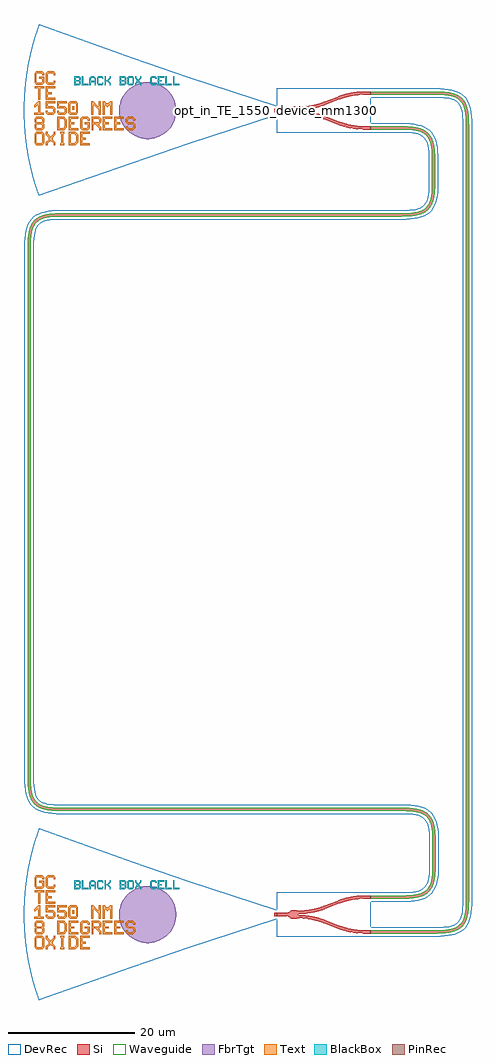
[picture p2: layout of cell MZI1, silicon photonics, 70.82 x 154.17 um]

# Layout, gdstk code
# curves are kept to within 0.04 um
import gdstk
lib = gdstk.Library(unit=1e-6, precision=1e-09)
def R(c, l, rs):  # rectangles x0, y0, x1, y1
    for r in rs: c.add(gdstk.rectangle(r[:2], r[2:], *l))
def P(c, l, *ps):  # polygons
    for p in ps: c.add(gdstk.Polygon(p, *l))
Si = (1, 0)
PinRec = (1, 10)
Waveguide = (1, 99)
Text = (10, 0)
DevRec = (68, 0)
FbrTgt = (81, 0)
BlackBox = (998, 0)

text = lib.new_cell('TEXT')
P(text, BlackBox, [(0,0),(0,1.4),(0.8,1.4),(1,1.2),(0.2,1.2),(0.2,0.8),(0.7,0.8),(0.8,0.9),(0.8,1.1),(0.7,1.2),(1,1.2),(1,0.8),(0.9,0.7),(1,0.6),(0.2,0.6),(0.2,0.2),(0.7,0.2),(0.8,0.3),(0.8,0.5),(0.7,0.6),(1,0.6),(1,0.2),(0.8,0)],
  [(1.2,0),(1.2,1.4),(1.4,1.4),(1.4,0.2),(2.2,0.2),(2.2,0)],
  [(2.4,0),(2.4,1.1),(2.7,1.4),(3.1,1.4),(3.3,1.2),(2.8,1.2),(2.6,1),(2.6,0.7),(3.2,0.7),(3.2,1),(3,1.2),(3.3,1.2),(3.4,1.1),(3.4,0),(3.2,0),(3.2,0.5),(2.6,0.5),(2.6,0)],
  [(3.8,0),(3.6,0.2),(3.6,1.2),(3.8,1.4),(4.4,1.4),(4.6,1.2),(4.6,1),(4.4,1),(4.4,1.1),(4.3,1.2),(3.9,1.2),(3.8,1.1),(3.8,0.3),(3.9,0.2),(4.3,0.2),(4.4,0.3),(4.4,0.4),(4.6,0.4),(4.6,0.2),(4.4,0)],
  [(4.8,0),(4.8,1.4),(5,1.4),(5,0.8),(5.2,0.8),(5.6,1.2),(5.6,1.4),(5.8,1.4),(5.8,1.1),(5.4,0.7),(5.8,0.3),(5.8,0),(5.6,0),(5.6,0.2),(5.2,0.6),(5,0.6),(5,0)],
  [(7.2,0),(7.2,1.4),(8,1.4),(8.2,1.2),(7.4,1.2),(7.4,0.8),(7.9,0.8),(8,0.9),(8,1.1),(7.9,1.2),(8.2,1.2),(8.2,0.8),(8.1,0.7),(8.2,0.6),(7.4,0.6),(7.4,0.2),(7.9,0.2),(8,0.3),(8,0.5),(7.9,0.6),(8.2,0.6),(8.2,0.2),(8,0)],
  [(8.6,0),(8.4,0.2),(8.4,1.2),(8.6,1.4),(9.2,1.4),(9.4,1.2),(9.4,0.7),(9.2,0.7),(9.2,1.1),(9.1,1.2),(8.7,1.2),(8.6,1.1),(8.6,0.3),(8.7,0.2),(9.1,0.2),(9.2,0.3),(9.2,0.7),(9.4,0.7),(9.4,0.2),(9.2,0)],
  [(9.6,0),(9.6,0.3),(9.9,0.6),(9.9,0.8),(9.6,1.1),(9.6,1.4),(9.8,1.4),(9.8,1.2),(10.1,0.9),(10.4,1.2),(10.4,1.4),(10.6,1.4),(10.6,1.1),(10.3,0.8),(10.3,0.6),(10.6,0.3),(10.6,0),(10.4,0),(10.4,0.2),(10.1,0.5),(9.8,0.2),(9.8,0)],
  [(12.2,0),(12,0.2),(12,1.2),(12.2,1.4),(12.8,1.4),(13,1.2),(13,1),(12.8,1),(12.8,1.1),(12.7,1.2),(12.3,1.2),(12.2,1.1),(12.2,0.3),(12.3,0.2),(12.7,0.2),(12.8,0.3),(12.8,0.4),(13,0.4),(13,0.2),(12.8,0)],
  [(13.2,0),(13.2,1.4),(14.2,1.4),(14.2,1.2),(13.4,1.2),(13.4,0.8),(13.8,0.8),(13.8,0.6),(13.4,0.6),(13.4,0.2),(14.2,0.2),(14.2,0)],
  [(14.4,0),(14.4,1.4),(14.6,1.4),(14.6,0.2),(15.4,0.2),(15.4,0)],
  [(15.6,0),(15.6,1.4),(15.8,1.4),(15.8,0.2),(16.6,0.2),(16.6,0)])

gc_te_1550_8degoxide_bb = lib.new_cell('GC_TE_1550_8degOxide_BB')
R(gc_te_1550_8degoxide_bb, Si, [(-0.4,-0.25,0,0.25)])
R(gc_te_1550_8degoxide_bb, Text, [(-32.313,0.092,-32.013,0.692)])
P(gc_te_1550_8degoxide_bb, Text, [(-37.67,1.71),(-37.67,3.51),(-38.27,3.51),(-38.27,3.81),(-36.77,3.81),(-36.77,3.51),(-37.37,3.51),(-37.37,1.71)],
  [(-37.97,-5.49),(-38.27,-5.19),(-38.27,-3.69),(-37.97,-3.39),(-37.07,-3.39),(-36.77,-3.69),(-36.77,-4.44),(-37.07,-4.44),(-37.07,-3.84),(-37.22,-3.69),(-37.82,-3.69),(-37.97,-3.84),(-37.97,-5.04),(-37.82,-5.19),(-37.22,-5.19),(-37.07,-5.04),(-37.07,-4.44),(-36.77,-4.44),(-36.77,-5.19),(-37.07,-5.49)],
  [(-31.07,-5.49),(-31.07,-3.39),(-29.57,-3.39),(-29.57,-3.69),(-30.77,-3.69),(-30.77,-4.29),(-30.17,-4.29),(-30.17,-4.59),(-30.77,-4.59),(-30.77,-5.19),(-29.57,-5.19),(-29.57,-5.49)],
  [(-32.87,-3.09),(-32.87,-0.99),(-31.37,-0.99),(-31.37,-1.29),(-32.57,-1.29),(-32.57,-1.89),(-31.97,-1.89),(-31.97,-2.19),(-32.57,-2.19),(-32.57,-2.79),(-31.37,-2.79),(-31.37,-3.09)],
  [(-27.47,-3.09),(-27.47,-0.99),(-25.97,-0.99),(-25.97,-1.29),(-27.17,-1.29),(-27.17,-1.89),(-26.57,-1.89),(-26.57,-2.19),(-27.17,-2.19),(-27.17,-2.79),(-25.97,-2.79),(-25.97,-3.09)],
  [(-25.67,-3.09),(-25.67,-0.99),(-24.17,-0.99),(-24.17,-1.29),(-25.37,-1.29),(-25.37,-1.89),(-24.77,-1.89),(-24.77,-2.19),(-25.37,-2.19),(-25.37,-2.79),(-24.17,-2.79),(-24.17,-3.09)],
  [(-36.47,1.71),(-36.47,3.81),(-34.97,3.81),(-34.97,3.51),(-36.17,3.51),(-36.17,2.91),(-35.57,2.91),(-35.57,2.61),(-36.17,2.61),(-36.17,2.01),(-34.97,2.01),(-34.97,1.71)],
  [(-29.313,-0.658),(-29.313,1.442),(-29.013,1.442),(-28.263,0.692),(-28.113,0.692),(-28.113,1.442),(-27.813,1.442),(-27.813,-0.658),(-28.113,-0.658),(-28.113,0.092),(-28.863,0.842),(-29.013,0.842),(-29.013,-0.658)],
  [(-34.22,-5.49),(-34.22,-5.19),(-34.07,-5.19),(-34.07,-3.69),(-34.22,-3.69),(-34.22,-3.39),(-33.62,-3.39),(-33.62,-3.69),(-33.77,-3.69),(-33.77,-5.19),(-33.62,-5.19),(-33.62,-5.49)],
  [(-36.17,4.11),(-36.47,4.41),(-36.47,5.91),(-36.17,6.21),(-35.27,6.21),(-34.97,5.91),(-34.97,5.61),(-35.27,5.61),(-35.27,5.76),(-35.42,5.91),(-36.02,5.91),(-36.17,5.76),(-36.17,4.56),(-36.02,4.41),(-35.42,4.41),(-35.27,4.56),(-35.27,4.71),(-34.97,4.71),(-34.97,4.41),(-35.27,4.11)],
  [(-27.513,-0.658),(-27.513,1.442),(-27.213,1.442),(-26.913,1.142),(-26.613,1.142),(-26.313,1.442),(-26.013,1.442),(-26.013,-0.658),(-26.313,-0.658),(-26.313,0.842),(-26.463,0.842),(-26.763,0.542),(-27.063,0.842),(-27.213,0.842),(-27.213,-0.658)],
  [(-32.613,-0.658),(-32.913,-0.358),(-32.913,1.142),(-32.613,1.442),(-31.713,1.442),(-31.413,1.142),(-32.463,1.142),(-32.613,0.992),(-32.613,-0.208),(-32.463,-0.358),(-31.863,-0.358),(-31.713,-0.208),(-31.713,0.992),(-31.863,1.142),(-31.413,1.142),(-31.413,-0.358),(-31.713,-0.658)],
  [(-32.87,-5.49),(-32.87,-3.39),(-31.82,-3.39),(-31.52,-3.69),(-32.57,-3.69),(-32.57,-5.19),(-31.97,-5.19),(-31.67,-4.89),(-31.67,-3.99),(-31.97,-3.69),(-31.52,-3.69),(-31.37,-3.84),(-31.37,-5.04),(-31.82,-5.49)],
  [(-34.67,-3.09),(-34.67,-0.99),(-33.62,-0.99),(-33.32,-1.29),(-34.37,-1.29),(-34.37,-2.79),(-33.77,-2.79),(-33.47,-2.49),(-33.47,-1.59),(-33.77,-1.29),(-33.32,-1.29),(-33.17,-1.44),(-33.17,-2.64),(-33.62,-3.09)],
  [(-23.57,-3.09),(-23.87,-2.79),(-23.87,-2.49),(-23.57,-2.49),(-23.57,-2.64),(-23.42,-2.79),(-22.82,-2.79),(-22.67,-2.64),(-22.67,-2.34),(-22.82,-2.19),(-23.57,-2.19),(-23.87,-1.89),(-23.87,-1.29),(-23.57,-0.99),(-22.67,-0.99),(-22.37,-1.29),(-22.37,-1.59),(-22.67,-1.59),(-22.67,-1.44),(-22.82,-1.29),(-23.42,-1.29),(-23.57,-1.44),(-23.57,-1.74),(-23.42,-1.89),(-22.67,-1.89),(-22.37,-2.19),(-22.37,-2.79),(-22.67,-3.09)],
  [(-36.213,-0.658),(-36.513,-0.358),(-36.513,-0.058),(-36.213,-0.058),(-36.213,-0.208),(-36.063,-0.358),(-35.463,-0.358),(-35.313,-0.208),(-35.313,0.242),(-35.463,0.392),(-36.513,0.392),(-36.513,1.442),(-35.013,1.442),(-35.013,1.142),(-36.213,1.142),(-36.213,0.692),(-35.313,0.692),(-35.013,0.392),(-35.013,-0.358),(-35.313,-0.658)],
  [(-34.413,-0.658),(-34.713,-0.358),(-34.713,-0.058),(-34.413,-0.058),(-34.413,-0.208),(-34.263,-0.358),(-33.663,-0.358),(-33.513,-0.208),(-33.513,0.242),(-33.663,0.392),(-34.713,0.392),(-34.713,1.442),(-33.213,1.442),(-33.213,1.142),(-34.413,1.142),(-34.413,0.692),(-33.513,0.692),(-33.213,0.392),(-33.213,-0.358),(-33.513,-0.658)],
  [(-37.97,-3.09),(-38.27,-2.79),(-38.27,-2.19),(-38.12,-2.04),(-38.27,-1.89),(-38.27,-1.29),(-37.97,-0.99),(-37.07,-0.99),(-36.77,-1.29),(-37.82,-1.29),(-37.97,-1.44),(-37.97,-1.74),(-37.82,-1.89),(-37.22,-1.89),(-37.07,-1.74),(-37.07,-1.44),(-37.22,-1.29),(-36.77,-1.29),(-36.77,-1.89),(-36.92,-2.04),(-36.77,-2.19),(-37.82,-2.19),(-37.97,-2.34),(-37.97,-2.64),(-37.82,-2.79),(-37.22,-2.79),(-37.07,-2.64),(-37.07,-2.34),(-37.22,-2.19),(-36.77,-2.19),(-36.77,-2.79),(-37.07,-3.09)],
  [(-38.313,-0.658),(-38.313,-0.358),(-37.713,-0.358),(-37.713,0.842),(-37.863,0.842),(-38.163,0.542),(-38.313,0.542),(-38.313,0.842),(-37.713,1.442),(-37.413,1.442),(-37.413,-0.358),(-36.813,-0.358),(-36.813,-0.658)],
  [(-36.47,-5.49),(-36.47,-5.04),(-36.02,-4.59),(-36.02,-4.29),(-36.47,-3.84),(-36.47,-3.39),(-36.17,-3.39),(-36.17,-3.69),(-35.72,-4.14),(-35.27,-3.69),(-35.27,-3.39),(-34.97,-3.39),(-34.97,-3.84),(-35.42,-4.29),(-35.42,-4.59),(-34.97,-5.04),(-34.97,-5.49),(-35.27,-5.49),(-35.27,-5.19),(-35.72,-4.74),(-36.17,-5.19),(-36.17,-5.49)],
  [(-30.77,-3.09),(-31.07,-2.79),(-31.07,-1.29),(-30.77,-0.99),(-29.87,-0.99),(-29.57,-1.29),(-29.57,-1.59),(-29.87,-1.59),(-29.87,-1.44),(-30.02,-1.29),(-30.62,-1.29),(-30.77,-1.44),(-30.77,-2.64),(-30.62,-2.79),(-30.02,-2.79),(-29.87,-2.64),(-29.87,-2.19),(-30.32,-2.19),(-30.32,-1.89),(-29.57,-1.89),(-29.57,-2.79),(-29.87,-3.09)],
  [(-37.97,4.11),(-38.27,4.41),(-38.27,5.91),(-37.97,6.21),(-37.07,6.21),(-36.77,5.91),(-36.77,5.61),(-37.07,5.61),(-37.07,5.76),(-37.22,5.91),(-37.82,5.91),(-37.97,5.76),(-37.97,4.56),(-37.82,4.41),(-37.22,4.41),(-37.07,4.56),(-37.07,5.01),(-37.52,5.01),(-37.52,5.31),(-36.77,5.31),(-36.77,4.41),(-37.07,4.11)],
  [(-29.27,-3.09),(-29.27,-0.99),(-28.07,-0.99),(-27.77,-1.29),(-28.97,-1.29),(-28.97,-1.89),(-28.22,-1.89),(-28.07,-1.74),(-28.07,-1.44),(-28.22,-1.29),(-27.77,-1.29),(-27.77,-1.89),(-28.07,-2.19),(-28.07,-2.34),(-27.77,-2.64),(-27.77,-3.09),(-28.07,-3.09),(-28.07,-2.79),(-28.67,-2.19),(-28.97,-2.19),(-28.97,-3.09)])
P(gc_te_1550_8degoxide_bb, DevRec, [(-37.607,-13.5),(-38.627,-10.245),(-39.378,-6.832),(-39.647,-5.058),(-39.835,-3.274),(-39.969,0.224),(-39.812,3.541),(-39.331,7.097),(-38.557,10.505),(-37.546,13.669),(-22.8,8.353),(-14.109,5.36),(0,0.75),(0,-0.75),(-14.109,-5.36)])
P(gc_te_1550_8degoxide_bb, FbrTgt, [(-20.621,-4.5),(-21.495,-4.37),(-22.326,-4.073),(-23.084,-3.619),(-23.738,-3.026),(-24.264,-2.316),(-24.642,-1.518),(-24.857,-0.661),(-24.9,0.221),(-24.77,1.095),(-24.473,1.926),(-24.019,2.684),(-23.426,3.338),(-22.716,3.864),(-21.918,4.242),(-21.061,4.457),(-20.179,4.5),(-19.305,4.37),(-18.474,4.073),(-17.716,3.619),(-17.062,3.026),(-16.536,2.316),(-16.158,1.518),(-15.943,0.661),(-15.9,-0.221),(-16.03,-1.095),(-16.327,-1.926),(-16.781,-2.684),(-17.374,-3.338),(-18.084,-3.864),(-18.882,-4.242),(-19.739,-4.457)])
gc_te_1550_8degoxide_bb.add(gdstk.FlexPath([(-0.01,0),(0.01,0)], 0.5, ends="flush", simple_path=True, layer=1, datatype=10))  # PinRec
gc_te_1550_8degoxide_bb.add(gdstk.Reference(text, (-32,4)))
gc_te_1550_8degoxide_bb.add(gdstk.Label('opt1', (0,0), layer=1, texttype=10))
gc_te_1550_8degoxide_bb.add(gdstk.Label('Lumerical_INTERCONNECT_library=Design kits/ebeam', (-29,-7), layer=68, texttype=0))
gc_te_1550_8degoxide_bb.add(gdstk.Label('Component=GC_TE_1550_8degOxide_BB', (-28,-5), layer=68, texttype=0))

ebeam_y_1550 = lib.new_cell('ebeam_y_1550')
R(ebeam_y_1550, Si, [(6.5,-3,7.4,-2.5), (-7.4,-0.25,-6,0.25), (6.5,2.5,7.4,3)])
P(ebeam_y_1550, Si, [(6.458,-3),(6.237,-2.997),(6.237,-2.497),(6.5,-2.5),(6.5,-3)],
  [(5.033,-2.908),(3.59,-2.634),(2.265,-2.21),(2.445,-1.744),(3.731,-2.154),(5.033,-2.404)],
  [(6.233,-2.997),(5.033,-2.908),(5.033,-2.404),(6.237,-2.497)],
  [(2.265,-2.21),(0.055,-1.356),(0.235,-0.89),(2.445,-1.744)],
  [(-0.762,-1.076),(-2.334,-0.724),(-4,-0.6),(-4,-0.1),(-2.381,-0.212),(-0.762,-0.555)],
  [(0.055,-1.356),(-0.762,-1.076),(-0.762,-0.555),(0.235,-0.89)],
  [(6.237,2.497),(6.237,2.997),(6.5,3),(6.5,2.5)],
  [(2.445,1.744),(2.267,2.211),(3.59,2.634),(5.033,2.908),(5.033,2.404),(3.731,2.154)],
  [(5.033,2.404),(5.033,2.908),(6.237,2.997),(6.237,2.497)],
  [(0.235,0.89),(0.055,1.356),(2.265,2.21),(2.445,1.744)],
  [(-4,0.1),(-4,0.6),(-2.334,0.724),(-0.762,1.076),(-0.762,0.555),(-2.381,0.212)],
  [(-0.762,0.555),(-0.762,1.076),(0.055,1.356),(0.235,0.89)],
  [(-5.122,-0.662),(-5.442,-0.374),(-5.808,-0.255),(-6,-0.25),(-6,0.25),(-5.817,0.253),(-5.442,0.374),(-5.122,0.662)],
  [(-4.957,-0.703),(-5.122,-0.662),(-5.122,0.662),(-4.538,0.703),(-4,0.6),(-4,-0.6),(-4.509,-0.701)])
R(ebeam_y_1550, DevRec, [(-7.4,-3.5,7.4,3.5)])
ebeam_y_1550.add(gdstk.FlexPath([(-7.35,0),(-7.45,0)], 0.5, ends="flush", simple_path=True, layer=1, datatype=10))  # PinRec
ebeam_y_1550.add(gdstk.FlexPath([(7.35,2.75),(7.45,2.75)], 0.5, ends="flush", simple_path=True, layer=1, datatype=10))  # PinRec
ebeam_y_1550.add(gdstk.FlexPath([(7.35,-2.75),(7.45,-2.75)], 0.5, ends="flush", simple_path=True, layer=1, datatype=10))  # PinRec
ebeam_y_1550.add(gdstk.Label('opt2', (7.4,2.75), layer=1, texttype=10))
ebeam_y_1550.add(gdstk.Label('opt3', (7.4,-2.75), layer=1, texttype=10))
ebeam_y_1550.add(gdstk.Label('opt1', (-7.4,0), layer=1, texttype=10))
ebeam_y_1550.add(gdstk.Label('Component=ebeam_y_1550', (-6,1.5), layer=68, texttype=0))
ebeam_y_1550.add(gdstk.Label('Lumerical_INTERCONNECT_library=Design kits/ebeam', (-6.86,-2.19), layer=68, texttype=0))
ebeam_y_1550.add(gdstk.Label('Ref: Y Zhang, Opt. Express, 21/1, 2013', (-7.5,-1), layer=10, texttype=0))

waveguide_4 = lib.new_cell('Waveguide$4')
P(waveguide_4, Si, [(15.01,2.19),(15.01,2.69),(20.672,2.7),(22.382,2.886),(23.022,3.08),(23.534,3.347),(23.937,3.694),(24.25,4.137),(24.595,5.099),(24.773,6.611),(24.785,11.728),(24.677,13.19),(24.445,14.165),(24.005,14.968),(23.44,15.453),(22.652,15.786),(21.599,15.979),(20.257,16.049),(-34.563,16.06),(-36.046,16.196),(-37.213,16.531),(-37.998,17.034),(-38.563,17.757),(-38.838,18.407),(-39.02,19.17),(-39.164,21.079),(-39.147,106.052),(-39.046,107.164),(-38.88,107.951),(-38.562,108.744),(-38.181,109.283),(-37.686,109.71),(-36.947,110.076),(-36.207,110.275),(-35.157,110.41),(19.96,110.45),(21.346,110.504),(22.573,110.715),(23.361,111.048),(23.926,111.533),(24.366,112.336),(24.598,113.311),(24.706,114.773),(24.692,119.77),(24.514,121.282),(24.169,122.244),(23.783,122.763),(23.263,123.15),(22.701,123.387),(21.849,123.578),(20.387,123.686),(15.01,123.69),(15.01,124.19),(20.811,124.173),(21.75,124.096),(22.563,123.946),(23.257,123.71),(23.84,123.373),(24.311,122.924),(24.67,122.363),(24.925,121.691),(25.091,120.904),(25.205,119.378),(25.209,114.979),(25.155,113.769),(25.003,112.751),(24.671,111.778),(24.227,111.118),(23.621,110.62),(22.854,110.278),(21.574,110.024),(19.96,109.95),(-35.121,109.912),(-36.111,109.785),(-36.779,109.606),(-37.408,109.294),(-37.811,108.947),(-38.124,108.504),(-38.4,107.813),(-38.552,107.09),(-38.647,106.03),(-38.664,21.083),(-38.528,19.256),(-38.362,18.559),(-38.125,17.997),(-37.881,17.633),(-37.583,17.335),(-36.897,16.94),(-35.96,16.688),(-34.547,16.56),(20.261,16.549),(21.653,16.477),(22.79,16.266),(23.7,15.881),(24.391,15.284),(24.864,14.468),(25.171,13.264),(25.288,11.523),(25.263,6.391),(25.083,4.991),(24.916,4.408),(24.688,3.897),(24.217,3.263),(23.701,2.86),(23.073,2.565),(22.171,2.336),(20.478,2.195)])
P(waveguide_4, Waveguide, [(15.01,2.19),(15.01,2.69),(20.672,2.7),(22.382,2.886),(23.022,3.08),(23.534,3.347),(23.937,3.694),(24.25,4.137),(24.595,5.099),(24.773,6.611),(24.785,11.728),(24.677,13.19),(24.445,14.165),(24.005,14.968),(23.44,15.453),(22.652,15.786),(21.599,15.979),(20.257,16.049),(-34.563,16.06),(-36.046,16.196),(-37.213,16.531),(-37.998,17.034),(-38.563,17.757),(-38.838,18.407),(-39.02,19.17),(-39.164,21.079),(-39.147,106.052),(-39.046,107.164),(-38.88,107.951),(-38.562,108.744),(-38.181,109.283),(-37.686,109.71),(-36.947,110.076),(-36.207,110.275),(-35.157,110.41),(19.96,110.45),(21.346,110.504),(22.573,110.715),(23.361,111.048),(23.926,111.533),(24.366,112.336),(24.598,113.311),(24.706,114.773),(24.692,119.77),(24.514,121.282),(24.169,122.244),(23.783,122.763),(23.263,123.15),(22.701,123.387),(21.849,123.578),(20.387,123.686),(15.01,123.69),(15.01,124.19),(20.811,124.173),(21.75,124.096),(22.563,123.946),(23.257,123.71),(23.84,123.373),(24.311,122.924),(24.67,122.363),(24.925,121.691),(25.091,120.904),(25.205,119.378),(25.209,114.979),(25.155,113.769),(25.003,112.751),(24.671,111.778),(24.227,111.118),(23.621,110.62),(22.854,110.278),(21.574,110.024),(19.96,109.95),(-35.121,109.912),(-36.111,109.785),(-36.779,109.606),(-37.408,109.294),(-37.811,108.947),(-38.124,108.504),(-38.4,107.813),(-38.552,107.09),(-38.647,106.03),(-38.664,21.083),(-38.528,19.256),(-38.362,18.559),(-38.125,17.997),(-37.881,17.633),(-37.583,17.335),(-36.897,16.94),(-35.96,16.688),(-34.547,16.56),(20.261,16.549),(21.653,16.477),(22.79,16.266),(23.7,15.881),(24.391,15.284),(24.864,14.468),(25.171,13.264),(25.288,11.523),(25.263,6.391),(25.083,4.991),(24.916,4.408),(24.688,3.897),(24.217,3.263),(23.701,2.86),(23.073,2.565),(22.171,2.336),(20.478,2.195)])
P(waveguide_4, DevRec, [(15.01,1.69),(15.01,3.19),(20.039,3.19),(21.785,3.288),(22.936,3.586),(23.416,3.883),(23.755,4.282),(24.115,5.247),(24.248,6.21),(24.29,11.298),(24.247,12.531),(24.114,13.494),(23.754,14.459),(23.597,14.676),(23.198,15.015),(22.615,15.275),(21.27,15.508),(20.04,15.55),(-34.617,15.561),(-36.425,15.76),(-37.425,16.078),(-38.265,16.603),(-38.613,16.951),(-39.138,17.791),(-39.32,18.273),(-39.554,19.348),(-39.665,21.3),(-39.654,105.902),(-39.553,107.153),(-39.319,108.228),(-38.903,109.151),(-38.612,109.55),(-38.264,109.898),(-37.424,110.423),(-36.424,110.741),(-35.265,110.904),(-33.915,110.95),(19.96,110.95),(21.705,111.048),(22.536,111.226),(23.119,111.486),(23.336,111.643),(23.675,112.042),(24.035,113.007),(24.168,113.97),(24.21,118.938),(24.167,120.171),(24.034,121.134),(23.674,122.099),(23.335,122.498),(22.855,122.795),(21.704,123.093),(19.959,123.19),(15.01,123.19),(15.01,124.69),(20.661,124.68),(21.912,124.579),(22.987,124.345),(23.91,123.929),(24.309,123.638),(24.657,123.29),(25.182,122.45),(25.364,121.968),(25.598,120.893),(25.699,119.642),(25.71,115.198),(25.664,113.85),(25.501,112.691),(25.183,111.691),(24.658,110.851),(23.911,110.212),(22.988,109.796),(21.913,109.562),(19.96,109.45),(-33.915,109.45),(-35.145,109.408),(-36.49,109.175),(-37.073,108.915),(-37.472,108.576),(-37.769,108.096),(-37.989,107.394),(-38.154,105.85),(-38.165,21.3),(-38.068,19.556),(-37.77,18.405),(-37.473,17.925),(-37.291,17.743),(-36.811,17.446),(-35.66,17.148),(-34.565,17.061),(20.04,17.05),(21.992,16.939),(23.067,16.705),(23.99,16.289),(24.737,15.65),(25.262,14.81),(25.444,14.328),(25.678,13.253),(25.79,11.302),(25.744,6.09),(25.581,4.931),(25.445,4.413),(25.029,3.49),(24.738,3.091),(23.991,2.452),(23.55,2.218),(22.55,1.9),(20.742,1.701)])
waveguide_4.add(gdstk.FlexPath([(15.02,123.94),(15,123.94)], 0.5, ends="flush", simple_path=True, layer=1, datatype=10))  # PinRec
waveguide_4.add(gdstk.FlexPath([(15.02,2.44),(15,2.44)], 0.5, ends="flush", simple_path=True, layer=1, datatype=10))  # PinRec
waveguide_4.add(gdstk.Label('opt1', (15.01,123.94), layer=1, texttype=10))
waveguide_4.add(gdstk.Label('opt2', (15.01,2.44), layer=1, texttype=10))
waveguide_4.add(gdstk.Label('Lumerical_INTERCONNECT_library=Design kits/EBeam', (15.01,123.84), layer=68, texttype=0))
waveguide_4.add(gdstk.Label('Component=ebeam_wg_integral_1550', (15.01,124.04), layer=68, texttype=0))
waveguide_4.add(gdstk.Label('cellName=Waveguide', (15.01,124.14), layer=68, texttype=0))
waveguide_4.add(gdstk.Label('Spice_param:wg_length=0.000260000 wg_width=5e-07 points="[[15.01,123.94],[24.96,123.94],[24.96,110.2],[-38.915,110.2],[-38.915,16.3],[25.04,16.3],[25.04,2.44],[15.01,2.44]]" radius=5e-06', (15.01,123.94), layer=68, texttype=0))
waveguide_4.add(gdstk.Label('Length=260.000 (microns)', (15.01,123.34), layer=68, texttype=0))
waveguide_4.add(gdstk.Label('waveguide_type=Strip TE 1550 nm, w=500 nm', (15.01,123.74), layer=68, texttype=0))

waveguide_6 = lib.new_cell('Waveguide$6')
P(waveguide_6, Si, [(15.01,-3.31),(15.01,-2.81),(25.74,-2.805),(26.872,-2.738),(27.792,-2.581),(28.406,-2.373),(28.806,-2.153),(29.135,-1.883),(29.406,-1.553),(29.798,-0.672),(30.009,0.555),(30.062,1.94),(30.062,124.44),(29.971,126.169),(29.717,127.305),(29.277,128.108),(28.979,128.406),(28.615,128.65),(28.176,128.846),(27.508,129.025),(26.518,129.152),(25.529,129.189),(15.01,129.19),(15.01,129.69),(25.533,129.689),(26.743,129.635),(27.761,129.483),(28.479,129.265),(29.192,128.873),(29.663,128.424),(30.022,127.863),(30.317,127.044),(30.467,126.231),(30.552,125.088),(30.562,1.94),(30.507,0.509),(30.235,-0.953),(30.023,-1.482),(29.745,-1.94),(29.395,-2.326),(28.973,-2.64),(28.48,-2.884),(27.916,-3.065),(26.926,-3.236),(25.75,-3.305)])
P(waveguide_6, Waveguide, [(15.01,-3.31),(15.01,-2.81),(25.74,-2.805),(26.872,-2.738),(27.792,-2.581),(28.406,-2.373),(28.806,-2.153),(29.135,-1.883),(29.406,-1.553),(29.798,-0.672),(30.009,0.555),(30.062,1.94),(30.062,124.44),(29.971,126.169),(29.717,127.305),(29.277,128.108),(28.979,128.406),(28.615,128.65),(28.176,128.846),(27.508,129.025),(26.518,129.152),(25.529,129.189),(15.01,129.19),(15.01,129.69),(25.533,129.689),(26.743,129.635),(27.761,129.483),(28.479,129.265),(29.192,128.873),(29.663,128.424),(30.022,127.863),(30.317,127.044),(30.467,126.231),(30.552,125.088),(30.562,1.94),(30.507,0.509),(30.235,-0.953),(30.023,-1.482),(29.745,-1.94),(29.395,-2.326),(28.973,-2.64),(28.48,-2.884),(27.916,-3.065),(26.926,-3.236),(25.75,-3.305)])
P(waveguide_6, DevRec, [(15.01,-3.81),(15.01,-2.31),(25.962,-2.299),(27.057,-2.212),(27.888,-2.034),(28.471,-1.774),(28.688,-1.617),(29.027,-1.218),(29.387,-0.253),(29.52,0.71),(29.562,1.94),(29.562,124.44),(29.464,126.185),(29.286,127.016),(29.166,127.336),(28.869,127.816),(28.687,127.998),(28.207,128.295),(27.056,128.593),(25.311,128.69),(15.01,128.69),(15.01,130.19),(25.313,130.19),(26.662,130.144),(27.821,129.981),(28.821,129.663),(29.661,129.138),(30.009,128.79),(30.3,128.391),(30.716,127.468),(30.95,126.393),(31.051,125.142),(31.062,1.94),(31.016,0.59),(30.853,-0.569),(30.717,-1.087),(30.301,-2.01),(29.662,-2.757),(29.263,-3.048),(28.34,-3.464),(27.265,-3.698),(26.014,-3.799)])
waveguide_6.add(gdstk.FlexPath([(15.02,129.44),(15,129.44)], 0.5, ends="flush", simple_path=True, layer=1, datatype=10))  # PinRec
waveguide_6.add(gdstk.FlexPath([(15.02,-3.06),(15,-3.06)], 0.5, ends="flush", simple_path=True, layer=1, datatype=10))  # PinRec
waveguide_6.add(gdstk.Label('opt1', (15.01,129.44), layer=1, texttype=10))
waveguide_6.add(gdstk.Label('opt2', (15.01,-3.06), layer=1, texttype=10))
waveguide_6.add(gdstk.Label('Lumerical_INTERCONNECT_library=Design kits/EBeam', (15.01,129.34), layer=68, texttype=0))
waveguide_6.add(gdstk.Label('Component=ebeam_wg_integral_1550', (15.01,129.54), layer=68, texttype=0))
waveguide_6.add(gdstk.Label('cellName=Waveguide', (15.01,129.64), layer=68, texttype=0))
waveguide_6.add(gdstk.Label('Spice_param:wg_length=0.000160001 wg_width=5e-07 points="[[15.01,129.44],[30.312,129.44],[30.312,-3.06],[15.01,-3.06]]" radius=5e-06', (15.01,129.44), layer=68, texttype=0))
waveguide_6.add(gdstk.Label('Length=160.001 (microns)', (15.01,128.84), layer=68, texttype=0))
waveguide_6.add(gdstk.Label('waveguide_type=Strip TE 1550 nm, w=500 nm', (15.01,129.24), layer=68, texttype=0))

mzi1 = lib.new_cell('MZI1')
mzi1.add(gdstk.Reference(gc_te_1550_8degoxide_bb, (0.21,-0.31)))
mzi1.add(gdstk.Reference(ebeam_y_1550, (7.61,126.69)))
mzi1.add(gdstk.Reference(ebeam_y_1550, (7.61,-0.31)))
mzi1.add(gdstk.Reference(gc_te_1550_8degoxide_bb, (0.21,126.69)))
mzi1.add(gdstk.Reference(waveguide_4, (0,0)))
mzi1.add(gdstk.Reference(waveguide_6, (0,0)))
mzi1.add(gdstk.Label('opt_in_TE_1550_device_mm13000_MZI1', (0.21,126.69), layer=10, texttype=0))

lib.write_gds('MZI1.gds')
